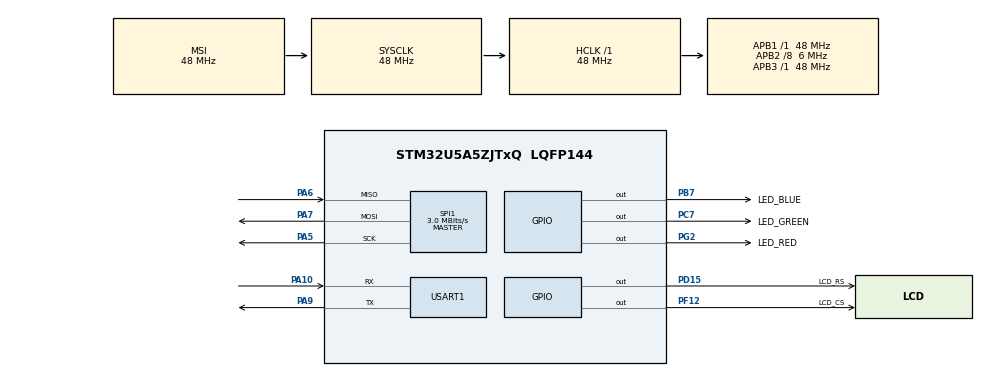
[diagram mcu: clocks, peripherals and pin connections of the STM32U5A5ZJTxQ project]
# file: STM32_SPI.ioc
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CORTEX_M33_NS.userName=CORTEX_M33
Mcu.Family=STM32U5
Mcu.Name=STM32U5A5ZJTxQ
Mcu.Package=LQFP144
NVIC.PriorityGroup=NVIC_PRIORITYGROUP_4
PA10.Mode=Asynchronous
PA10.Signal=USART1_RX
PA5.Mode=Full_Duplex_Master
PA5.Signal=SPI1_SCK
PA6.Mode=Full_Duplex_Master
PA6.Signal=SPI1_MISO
PA7.Mode=Full_Duplex_Master
PA7.Signal=SPI1_MOSI
PA9.Mode=Asynchronous
PA9.Signal=USART1_TX
PB7.GPIO_FM7=__NULL
PB7.GPIO_Label=LED_BLUE
PB7.GPIO_ModeDefaultOutputPP=GPIO_MODE_OUTPUT_PP
PB7.GPIO_PuPd=GPIO_NOPULL
PB7.GPIO_Speed=GPIO_SPEED_FREQ_LOW
PB7.PinState=GPIO_PIN_RESET
PB7.Signal=GPIO_Output
PC7.GPIO_Label=LED_GREEN
PC7.GPIO_Speed=GPIO_SPEED_FREQ_LOW
PC7.PinState=GPIO_PIN_SET
PC7.Signal=GPIO_Output
PD15.GPIO_Label=LCD_RS
PD15.Signal=GPIO_Output
PF12.GPIO_Label=LCD_CS
PF12.Signal=GPIO_Output
PG2.GPIO_Label=LED_RED
PG2.PinState=GPIO_PIN_SET
PG2.Signal=GPIO_Output
PWR.PowerMode=PWR_SMPS_SUPPLY
ProjectManager.HeapSize=0x200
ProjectManager.StackSize=0x400
ProjectManager.TargetToolchain=STM32CubeIDE
RCC.ADCFreq_Value=16000000
RCC.AHBFreq_Value=48000000
RCC.APB1Freq_Value=48000000
RCC.APB1TimFreq_Value=48000000
RCC.APB2CLKDivider=RCC_HCLK_DIV8
RCC.APB2Freq_Value=6000000
RCC.APB2TimFreq_Value=12000000
RCC.APB3Freq_Value=48000000
RCC.CortexFreq_Value=48000000
RCC.DACCLockSelectionVirtual=RCC_DAC1CLKSOURCE_LSI
RCC.EPOD_VALUE=48000000
RCC.HCLKFreq_Value=48000000
RCC.HSE_VALUE=16000000
RCC.HSI48_VALUE=48000000
RCC.HSI_VALUE=16000000
RCC.LSE_VALUE=32768
RCC.LSIDIV_VALUE=32000
RCC.MSIClockRange=RCC_MSIRANGE_0
RCC.MSI_VALUE=48000000
RCC.PLL1P=8
RCC.PLLFRACN=0
RCC.PLLM=3
RCC.PLLN=8
RCC.SPI1CLockSelection=RCC_SPI1CLKSOURCE_PCLK2
RCC.SYSCLKFreq_VALUE=48000000
RCC.VCOOutputFreq_Value=128000000
SPI1.CalculateBaudRate=3.0 MBits/s
SPI1.DataSize=SPI_DATASIZE_8BIT
SPI1.Direction=SPI_DIRECTION_2LINES
SPI1.Mode=SPI_MODE_MASTER
SPI1.VirtualType=VM_MASTER
USART1.VirtualMode-Asynchronous=VM_ASYNC
VP_ICACHE_VS_ICACHE.Mode=DirectMappedCache
VP_LPBAMQUEUE_VS_QUEUE.Mode=QUEUEMODE
VP_MEMORYMAP_VS_MEMORYMAP.Mode=CurAppReg
VP_PWR_VS_DBSignals.Mode=DisableDeadBatterySignals
VP_PWR_VS_LPOM.Mode=PowerOptimisation
VP_PWR_VS_SECSignals.Mode=Security/Privilege
board=NUCLEO-U5A5ZJ-Q

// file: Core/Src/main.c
/* USER CODE BEGIN Header */
/**
  ******************************************************************************
  * @file           : main.c
  * @brief          : Main program body
  ******************************************************************************
  * @attention
  *
  * Copyright (c) 2023 STMicroelectronics.
  * All rights reserved.
  *
  * This software is licensed under terms that can be found in the LICENSE file
  * in the root directory of this software component.
  * If no LICENSE file comes with this software, it is provided AS-IS.
  *
  ******************************************************************************
  */
/* USER CODE END Header */
#include "main.h"

#include "icache.h"
#include "memorymap.h"
#include "spi.h"
#include "usart.h"
#include "gpio.h"

/* USER CODE BEGIN Includes */
#include "rfm69.h"
#include "rfm69_registers.h"
#include "lcd.h"
/* USER CODE END Includes */

/* USER CODE BEGIN PTD */
#define COUNTOF(__BUFFER__) (sizeof(__BUFFER__) / sizeof(*(__BUFFER__)))
#define BUFFERSIZE (COUNTOF(aTxBuffer) - 1)
/* USER CODE END PTD */

void SystemClock_Config(void);
static void SystemPower_Config(void);

int main(void)
{

  /* USER CODE BEGIN 1 */
  uint8_t RX_Data[5] = {0};
  uint8_t RX_Data_BREAK[] = "\r\n";
  char listen_value[19];
  /* USER CODE END 1 */

  /* MCU Configuration--------------------------------------------------------*/

  /* Reset of all peripherals, Initializes the Flash interface and the Systick. */
  HAL_Init();

  /* Configure the system clock */
  SystemClock_Config();

  /* Configure the System Power */
  SystemPower_Config();

  /* Initialize all configured peripherals */
  MX_GPIO_Init();
  MX_ICACHE_Init();
  MX_SPI1_Init();
  MX_USART1_UART_Init();
  /* USER CODE BEGIN 2 */
  //LCD_Init(&hspi1);
  RFM69_Init(0xAA, 0xAA);
  setToReceiverMode();

  /* USER CODE END 2 */

  /* Infinite loop */
  /* USER CODE BEGIN WHILE */
  while (1)
  {
	  uint8_t irq_flag_register_value = UINT8_MAX;
	  uint8_t rxContent = UINT8_MAX;
	  uint8_t activeIrq = UINT8_MAX;

	  HAL_GPIO_WritePin(LED_BLUE_GPIO_Port, LED_BLUE_Pin, GPIO_PIN_RESET);

	  activeIrq = listen();

	  sprintf(listen_value, "Achtive IRQ %d\r\n", activeIrq);
	  HAL_UART_Transmit(&huart1, &listen_value, sizeof(listen_value), 10);

	  HAL_Delay(50);

	  //0x44 → fifo is not empty and payload ready
	  while(activeIrq >= 0x44) {
		  HAL_GPIO_WritePin(LED_BLUE_GPIO_Port, LED_BLUE_Pin, GPIO_PIN_SET);

		  rxContent = getFifoContent();

		  sprintf(listen_value, "WAS IN FIFO: %X\r\n", rxContent);
		  HAL_UART_Transmit(&huart1, &listen_value, sizeof(listen_value), 10);

		  // break out of FIFO read out if no data in fifo
		  irq_flag_register_value = readREG(&hspi1, REG_IRQFLAGS2);
		  if (irq_flag_register_value == 0x00) {
			  break;
		  }

	  }

    /* USER CODE END WHILE */

  }
}

void SystemClock_Config(void)
{
  RCC_OscInitTypeDef RCC_OscInitStruct = {0};
  RCC_ClkInitTypeDef RCC_ClkInitStruct = {0};

  /** Configure the main internal regulator output voltage
  */
  if (HAL_PWREx_ControlVoltageScaling(PWR_REGULATOR_VOLTAGE_SCALE3) != HAL_OK)
  {
    Error_Handler();
  }

  /** Initializes the CPU, AHB and APB buses clocks
  */
  RCC_OscInitStruct.OscillatorType = RCC_OSCILLATORTYPE_MSI;
  RCC_OscInitStruct.MSIState = RCC_MSI_ON;
  RCC_OscInitStruct.MSICalibrationValue = RCC_MSICALIBRATION_DEFAULT;
  RCC_OscInitStruct.MSIClockRange = RCC_MSIRANGE_0;
  RCC_OscInitStruct.PLL.PLLState = RCC_PLL_NONE;
  if (HAL_RCC_OscConfig(&RCC_OscInitStruct) != HAL_OK)
  {
    Error_Handler();
  }

  /** Initializes the CPU, AHB and APB buses clocks
  */
  RCC_ClkInitStruct.ClockType = RCC_CLOCKTYPE_HCLK|RCC_CLOCKTYPE_SYSCLK
                              |RCC_CLOCKTYPE_PCLK1|RCC_CLOCKTYPE_PCLK2
                              |RCC_CLOCKTYPE_PCLK3;
  RCC_ClkInitStruct.SYSCLKSource = RCC_SYSCLKSOURCE_MSI;
  RCC_ClkInitStruct.AHBCLKDivider = RCC_SYSCLK_DIV1;
  RCC_ClkInitStruct.APB1CLKDivider = RCC_HCLK_DIV1;
  RCC_ClkInitStruct.APB2CLKDivider = RCC_HCLK_DIV8;
  RCC_ClkInitStruct.APB3CLKDivider = RCC_HCLK_DIV1;

  if (HAL_RCC_ClockConfig(&RCC_ClkInitStruct, FLASH_LATENCY_1) != HAL_OK)
  {
    Error_Handler();
  }
}

/**
  * @brief Power Configuration
  * @retval None
  */
static void SystemPower_Config(void)
{
  HAL_PWREx_EnableVddIO2();

  /*
   * Disable the internal Pull-Up in Dead Battery pins of UCPD peripheral
   */
  HAL_PWREx_DisableUCPDDeadBattery();

  /*
   * Switch to SMPS regulator instead of LDO
   */
  if (HAL_PWREx_ConfigSupply(PWR_SMPS_SUPPLY) != HAL_OK)
  {
    Error_Handler();
  }
}

void Error_Handler(void)
{
  __disable_irq();
  while (1)
  {
  }
}
